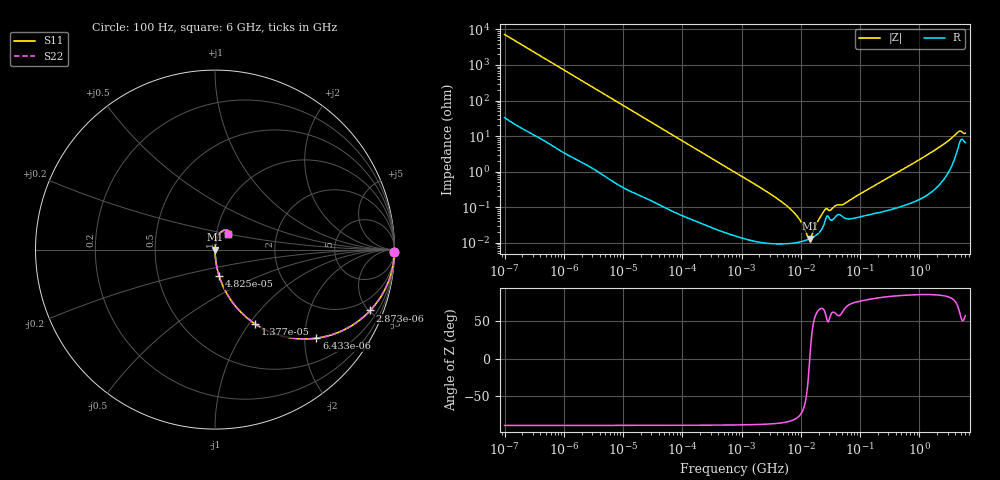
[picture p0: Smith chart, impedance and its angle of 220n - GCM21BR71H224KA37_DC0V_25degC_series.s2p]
!Murata Part Number: GCM21BR71H224KA37
!These Parameters are Measured in Series Mode Connection
!  o--ll--o
!Port1  Port2
!  o------o
!Operation Temp=25[degC], DC Bias Voltage=0[V]
!Freq. Start=100[Hz] Stop=6[GHz], 401[Steps]
!Data Generated on Nov 6, 2018
# Hz S RI R 50
!Freq.(Hz) S11(Real) S11(Imag) S21(Real) S21(Imag) S12(Real) S12(Imag) S22(Real) S22(Imag)
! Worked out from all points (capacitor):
!   401 points, 100 Hz to 6 GHz, reference 50 ohm
!   read as one part in series: C = 220 nF near 109.4 Hz
!   lowest |Z| = 12.9 mohm at 14.22 MHz (marker M1)
!   series resonance near 14.15 MHz, so ESL is about 580 pH
!   S11 on the Smith chart (normalised r, x): 100 Hz: open; 2.873 kHz: 1.03, -5.09; 6.433 kHz: 1.01, -2.28; 13.77 kHz: 1.01, -1.07; 48.25 kHz: 1.00, -0.31; 6 GHz: 1.13, +0.20
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100  0.9997 -0.0138  0.000253 0.0138  0.000253 0.0138  0.9997 -0.0138
599.5358  0.9929 -0.0818  0.00712 0.0818  0.00712 0.0818  0.9929 -0.0818
2008.354  0.9286 -0.255  0.0714 0.255  0.0714 0.255  0.9286 -0.255
2873.448  0.8649 -0.3392  0.1351 0.3392  0.1351 0.3392  0.8649 -0.3392
6433.098  0.5647 -0.4934  0.4353 0.4934  0.4353 0.4934  0.5647 -0.4934
13771.83  0.2226 -0.4135  0.7774 0.4135  0.7774 0.4135  0.2226 -0.4135
40334.87  0.0334 -0.1765  0.9666 0.1765  0.9666 0.1765  0.0334 -0.1765
48246.1  0.0238 -0.1491  0.9762 0.1491  0.9762 0.1491  0.0238 -0.1491
147773.5  0.00294 -0.05  0.9971 0.05  0.9971 0.05  0.00294 -0.05
774596.7  0.000247 -0.00962  0.9998 0.00962  0.9998 0.00962  0.000247 -0.00962
6075234  9.48e-05 -0.00101  0.9999 0.00101  0.9999 0.00101  9.48e-05 -0.00101
9090158  0.000102 -0.00049  0.9999 0.00049  0.9999 0.00049  0.000102 -0.00049
1.300572e7  0.000121 -9.14e-05  0.9999 9.14e-05  0.9999 9.14e-05  0.000121 -9.14e-05
1.422411e7  0.000128 5.52e-06  0.9999 -5.52e-06  0.9999 -5.52e-06  0.000128 5.52e-06
1.555665e7  0.000138 0.000104  0.9999 -0.000104  0.9999 -0.000104  0.000138 0.000104
1.946e7  0.000178 0.000364  0.9998 -0.000364  0.9998 -0.000364  0.000178 0.000364
2.545746e7  0.000384 0.000745  0.9996 -0.000745  0.9996 -0.000745  0.000384 0.000745
5.449875e7  0.000498 0.00114  0.9995 -0.00114  0.9995 -0.00114  0.000498 0.00114
3.124326e8  0.000875 0.0069  0.9991 -0.0069  0.9991 -0.0069  0.000875 0.0069
1.873145e9  0.00497 0.0409  0.995 -0.0409  0.995 -0.0409  0.00497 0.0409
4.385646e9  0.05 0.1076  0.95 -0.1076  0.95 -0.1076  0.05 0.1076
6e9  0.0699 0.0892  0.9301 -0.0892  0.9301 -0.0892  0.0699 0.0892
